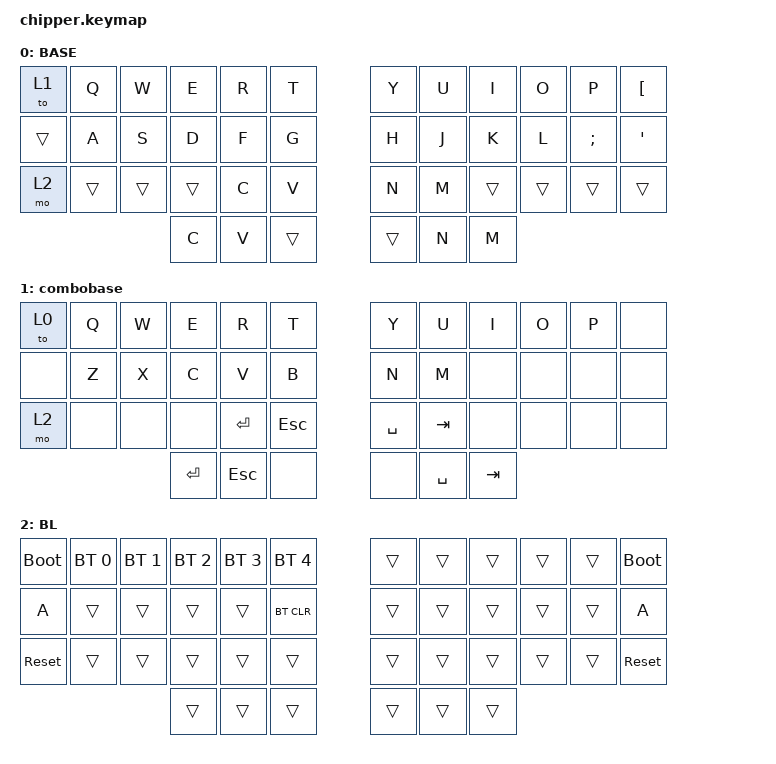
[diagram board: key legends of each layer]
#include <behaviors.dtsi>
#include <dt-bindings/zmk/bt.h>
#include <dt-bindings/zmk/keys.h>

&lt { flavor = "hold-preferred"; };

/ {
};

/ {
    combos {
        compatible = "zmk,combos";

        a {
            bindings = <&kp A>;
            key-positions = <1 13>;
            layers = <1>;
        };

        s {
            bindings = <&kp S>;
            key-positions = <2 14>;
            layers = <1>;
        };

        d {
            bindings = <&kp D>;
            key-positions = <3 15>;
            layers = <1>;
        };

        f {
            bindings = <&kp F>;
            key-positions = <4 16>;
            layers = <1>;
        };

        g {
            bindings = <&kp G>;
            key-positions = <5 17>;
            layers = <1>;
        };

        h {
            bindings = <&kp H>;
            key-positions = <6 18>;
            layers = <1>;
        };

        j {
            bindings = <&kp J>;
            key-positions = <7 19>;
            layers = <1>;
        };

        k {
            bindings = <&kp K>;
            key-positions = <8 20>;
            layers = <1>;
        };

        l {
            bindings = <&kp L>;
            key-positions = <21 9>;
            layers = <1>;
        };
    };

    keymap {
        compatible = "zmk,keymap";

        BASE {
            bindings = <
&to 1   &kp Q   &kp W   &kp E   &kp R  &kp T     &kp Y   &kp U  &kp I   &kp O   &kp P     &kp LBKT
&trans  &kp A   &kp S   &kp D   &kp F  &kp G     &kp H   &kp J  &kp K   &kp L   &kp SEMI  &kp SINGLE_QUOTE
&mo 2   &trans  &trans  &trans  &kp C  &kp V     &kp N   &kp M  &trans  &trans  &trans    &trans
                        &kp C   &kp V  &trans    &trans  &kp N  &kp M
            >;
        };

        combobase {
            bindings = <
&to 0  &kp Q  &kp W  &kp E      &kp R      &kp T      &kp Y      &kp U      &kp I    &kp O  &kp P  &none
&none  &kp Z  &kp X  &kp C      &kp V      &kp B      &kp N      &kp M      &none    &none  &none  &none
&mo 2  &none  &none  &none      &kp ENTER  &kp ESC    &kp SPACE  &kp TAB    &none    &none  &none  &none
                     &kp ENTER  &kp ESC    &none      &none      &kp SPACE  &kp TAB
            >;
        };

        BL {
            bindings = <
&bootloader  &bt BT_SEL 0  &bt BT_SEL 1  &bt BT_SEL 2  &bt BT_SEL 3  &bt BT_SEL 4    &trans  &trans  &trans  &trans  &trans  &bootloader
&kp A        &trans        &trans        &trans        &trans        &bt BT_CLR      &trans  &trans  &trans  &trans  &trans  &kp A
&sys_reset   &trans        &trans        &trans        &trans        &trans          &trans  &trans  &trans  &trans  &trans  &sys_reset
                                         &trans        &trans        &trans          &trans  &trans  &trans
            >;
        };
    };

    conditional_layers {
        compatible = "zmk,conditional-layers";

        BL {
            if-layers = <2 2>;
            then-layer = <2>;
        };
    };
};
